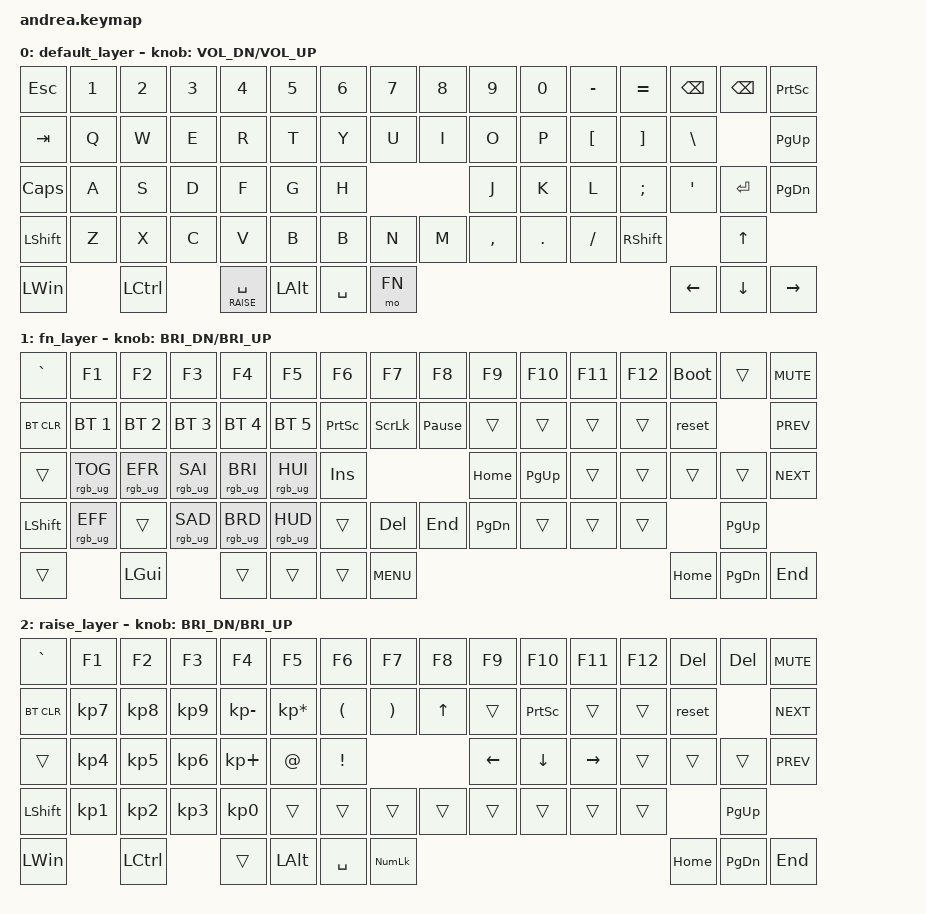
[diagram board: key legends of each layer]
#include <behaviors.dtsi>
#include <dt-bindings/zmk/keys.h>
#include <dt-bindings/zmk/bt.h>
#include <dt-bindings/zmk/outputs.h>
#include <dt-bindings/zmk/rgb.h>
#include <dt-bindings/zmk/ext_power.h>

#define FN 1
#define RAISE 2

/ {
	keymap {
		compatible = "zmk,keymap";

		default_layer {
// -----------------------------------------------------------------------------------------
//   | ESC        | 1     | 2     | 3     | 4     | 5     | 6     | 7     | 8     | 9     | 0     | -     | =     | BSPC  | DEL   | PRSC  |   
//   | TAB        | Q     | W     | E     | R     | T     | Y     | U     | I     | O     | P     | [     | ]     | \     |         PGUP  |  
//   |CAPS        | A     | S     | D     | F     | G     | H     | J     | K     | L     | ;     | '     |         ENTER |         PGDN  |
//   | SHIFT      | Z     | X     | C     | V     | B     | B     | N     | M     | ,     | .     | /     | SHIFT        |  UP   |
//   | LWIN       |       LCTRL   |  RAISE SPACE  |  LALT         | SPACE | FN    |                               LEFT  | DOWN  | RIGHT |   

			bindings = <
    &kp ESC          &kp NUM_1        &kp NUM_2     &kp NUM_3     &kp NUM_4     &kp NUM_5        &kp NUM_6        &kp NUM_7        &kp NUM_8        &kp NUM_9        &kp NUM_0        &kp MINUS        &kp EQL          &kp BKSP         &kp BKSP          &kp PSCRN
    &kp TAB          &kp Q            &kp W         &kp E         &kp R         &kp T            &kp Y            &kp U            &kp I            &kp O            &kp P            &kp LBKT         &kp RBKT         &kp BSLH                         &kp PG_UP
    &kp CAPS         &kp A            &kp S         &kp D         &kp F         &kp G            &kp H            &kp J            &kp K            &kp L            &kp SCLN         &kp QUOT                          &kp ENTER                        &kp PG_DN
    &kp LSHFT        &kp Z            &kp X         &kp C         &kp V         &kp B            &kp B            &kp N            &kp M            &kp CMMA         &kp DOT          &kp FSLH         &kp RSHFT                         &kp UP
    &kp LWIN                          &kp LCTRL                   &lt RAISE SPACE  &kp LALT           &kp SPACE        &mo FN                                                                                              &kp LEFT         &kp DOWN        &kp RIGHT
			>;
			
			sensor-bindings = <&inc_dec_kp C_VOL_DN C_VOL_UP>; 
			
		};

		fn_layer {
// -----------------------------------------------------------------------------------------
//   | GRAVE | F1     | F2       | F3     | F4     | F5       | F6    | F7    | F8    | F9    | F10   | F11   | F12   | BOOTLOADER  | TRANS | MUTE  |
//   | BT_CLR|BT_SEL 1| BT_SEL 2 |BT_SEL 3|BT_SEL 4| BT_SEL 5 | PSCR  | SCLK  | PAUSE | TRANS | TRANS | TRANS | TRANS | RESET       |         NEXT T|
//   |TRANS  |RGB_TOG |  RGB_EFR |RGB_SAI |RGB_BRI | RGB_HUI  | INS   | HOME  | PG_UP | TRANS | TRANS | TRANS |         TRANS       |         PREV T|
//   | SHIFT | RGB_EFF| TRANS    |RGB_SAD |RGB_BRD | RGB_HUD  | TRANS | DEL   | END   | PG_DN | TRANS | TRANS | TRANS |               PG_UP |
//   | TRANS |         GUI   |         TRANS | TRANS    |         TRANS | MENU  |                                            HOME   | PG_DN | END   |

			bindings = <
    &kp GRAVE        &kp F1           &kp F2           &kp F3          &kp F4          &kp F5            &kp F6           &kp F7           &kp F8           &kp F9           &kp F10          &kp F11          &kp F12          &bootloader      &trans         &kp C_MUTE
    &bt BT_CLR       &bt BT_SEL 1     &bt BT_SEL 2     &bt BT_SEL 3    &bt BT_SEL 4    &bt BT_SEL 5      &kp PSCRN        &kp SLCK         &kp PAUSE_BREAK  &trans           &trans           &trans           &trans           &reset                          &kp C_PREV
    &trans           &rgb_ug RGB_TOG  &rgb_ug RGB_EFR  &rgb_ug RGB_SAI &rgb_ug RGB_BRI &rgb_ug RGB_HUI   &kp INS          &kp HOME         &kp PG_UP        &trans           &trans           &trans                            &trans                          &kp C_NEXT
    &kp LSHFT        &rgb_ug RGB_EFF  &trans           &rgb_ug RGB_SAD &rgb_ug RGB_BRD &rgb_ug RGB_HUD   &trans           &kp DEL          &kp END          &kp PG_DN        &trans           &trans           &trans                            &kp PG_UP
    &trans                            &kp LGUI                         &trans          &trans        &trans           &kp C_MENU                                                                                            &kp HOME         &kp PG_DN      &kp END        
			>;

			sensor-bindings = <&inc_dec_kp C_BRI_DN C_BRI_UP>;

		};
		raise_layer {
// -----------------------------------------------------------------------------------------
//   | GRAVE | F1     | F2       | F3     | F4     | F5       | F6    | F7    | F8    | F9    | F10   | F11   | F12   | DEL         | DEL | MUTE  |
//   | BT_CLR| 7      | 8        | 9      | -      | *        | (     | )     | UP    | TRANS | PSCRN | TRANS | TRANS | RESET       |         NEXT T|
//   | TRANS | 4      | 5        | 6      | +      | @        | !     | LEFT  | DOWN  | RIGHT | TRANS | TRANS |         TRANS       |         PREV T|
//   | SHIFT | 1      | 2        | 3      | 0      | TRANS    | TRANS | TRANS | TRANS | TRANS | TRANS | TRANS | TRANS |               PG_UP |
//   | LWIN  |         LCTRL     | TRANS       | LALT    |         SPACE | FN  |                                            HOME   | PG_DN | END   |

			bindings = <
    &kp GRAVE        &kp F1           &kp F2           &kp F3          &kp F4          &kp F5            &kp F6           &kp F7           &kp F8           &kp F9           &kp F10          &kp F11          &kp F12          &kp DEL      &kp DEL            &kp C_MUTE
    &bt BT_CLR       &kp KP_N7        &kp KP_N8        &kp KP_N9       &kp KP_MINUS    &kp KP_MULTIPLY   &kp LPAR         &kp RPAR         &kp UP           &trans           &kp PSCRN        &trans           &trans           &reset                          &kp C_NEXT
    &trans           &kp KP_N4        &kp KP_N5        &kp KP_N6       &kp KP_PLUS     &kp AT            &kp EXCL         &kp LEFT         &kp DOWN         &kp RIGHT        &trans           &trans                            &trans                          &kp C_PREV
    &kp LSHFT        &kp KP_N1        &kp KP_N2        &kp KP_N3       &kp KP_N0       &trans            &trans           &trans           &trans           &trans           &trans           &trans           &trans                            &kp PG_UP
    &kp LWIN                          &kp LCTRL                        &trans          &kp LALT          &kp SPACE        &kp KP_NUM                                                                                            &kp HOME         &kp PG_DN      &kp END        
			>;

			sensor-bindings = <&inc_dec_kp C_BRI_DN C_BRI_UP>;

		};

	};
};
